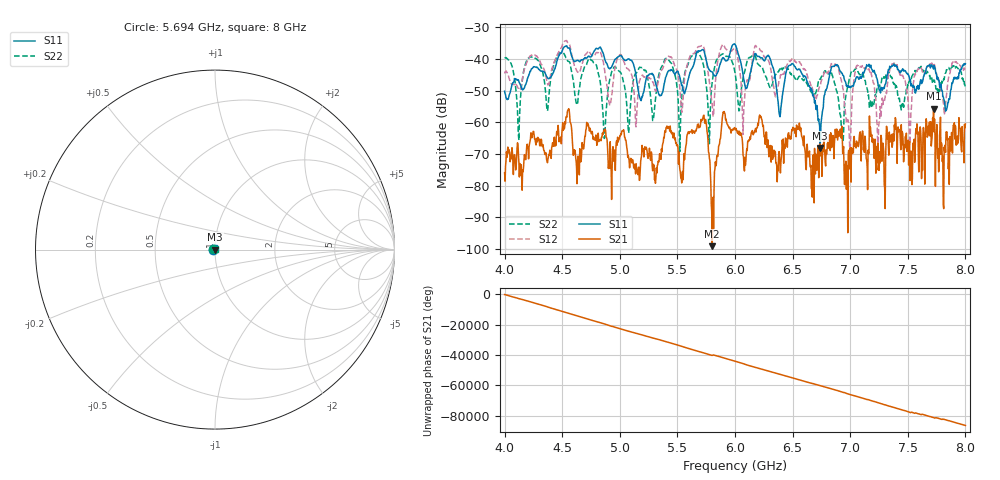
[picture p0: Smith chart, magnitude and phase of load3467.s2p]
# Hz  S  RI  R  50.0
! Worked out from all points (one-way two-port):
!   1000 points, 4 GHz to 8 GHz, reference 50 ohm
!   highest |S21| = -55.73 dB at 7.724 GHz (marker M1); lowest = -99.2 dB at 5.802 GHz (marker M2)
!   lowest |S11| = -68.1 dB at 6.739 GHz (marker M3), VSWR 1.00, Z = 50 + j0.0367 ohm
!   |S11| at or under -10 dB: start of sweep to end of sweep
!   |S22| runs from -69.2 to -37.7 dB; largest |S21 - S12| = 0.02
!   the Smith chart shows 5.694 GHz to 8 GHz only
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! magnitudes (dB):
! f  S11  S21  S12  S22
! 4 GHz  -50.2  -76.0  -44.6  -39.8
! 4.12 GHz  -46.7  -70.3  -49.3  -64.2
! 4.216 GHz  -44.5  -66.8  -39.5  -39.4
! 4.669 GHz  -40.3  -69.7  -41.8  -45.2
! 4.865 GHz  -39.4  -62.9  -42.7  -65.1
! 4.949 GHz  -40.8  -69.9  -45.0  -42.6
! 5.337 GHz  -51.0  -72.6  -46.6  -45.2
! 5.726 GHz  -37.2  -58.0  -36.0  -41.9
! 5.802 GHz  -44.1  -99.2  -54.5  -47.4
! 6.002 GHz  -35.5  -62.4  -36.8  -44.7
! 6.074 GHz  -46.0  -70.9  -57.9  -45.3
! 6.186 GHz  -38.8  -61.8  -36.2  -40.4
! 6.667 GHz  -49.7  -80.7  -48.6  -50.8
! 6.739 GHz  -68.1  -66.9  -48.5  -46.4
! 6.883 GHz  -42.0  -62.1  -42.1  -50.1
! 6.987 GHz  -48.9  -68.9  -61.6  -47.4
! 7.063 GHz  -45.7  -66.5  -42.0  -43.3
! 7.247 GHz  -48.8  -73.6  -61.1  -48.4
! 7.335 GHz  -43.5  -70.4  -44.4  -44.1
! 7.516 GHz  -46.2  -66.1  -66.7  -47.0
! 7.724 GHz  -43.2  -55.7  -42.2  -46.7
! 8 GHz  -41.6  -60.5  -43.2  -48.9
